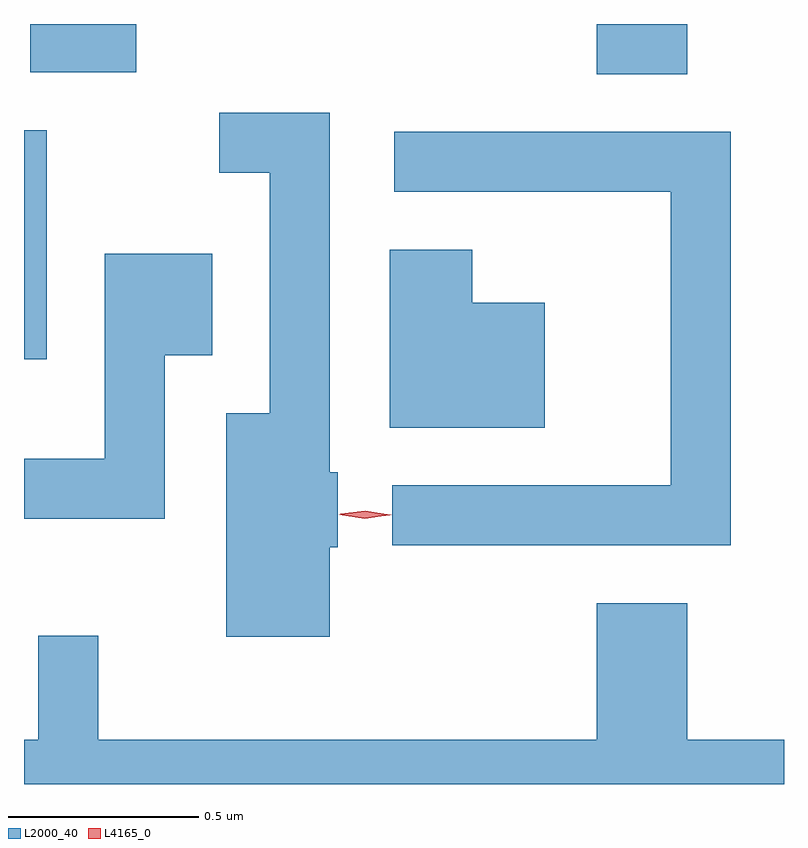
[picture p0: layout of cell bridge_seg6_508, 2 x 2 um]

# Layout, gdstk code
import gdstk
lib = gdstk.Library(unit=1e-6, precision=1e-09)
def R(c, l, rs):  # rectangles x0, y0, x1, y1
    for r in rs: c.add(gdstk.rectangle(r[:2], r[2:], *l))
def P(c, l, *ps):  # polygons
    for p in ps: c.add(gdstk.Polygon(p, *l))
L2000_40 = (2000, 40)
L4165_0 = (4165, 0)

bridge_seg6_508 = lib.new_cell('bridge_seg6_508')
R(bridge_seg6_508, L2000_40, [(783.389,1595.706,783.449,1596.309), (784.896,1596.456,785.134,1596.588), (783.406,1596.461,783.684,1596.588)])
P(bridge_seg6_508, L2000_40, [(784.194,1595.211),(784.214,1595.211),(784.214,1595.409),(784.194,1595.409),(784.194,1596.354),(783.903,1596.354),(783.903,1596.196),(784.036,1596.196),(784.036,1595.564),(783.921,1595.564),(783.921,1594.976),(784.194,1594.976)],
  [(785.249,1596.304),(784.363,1596.304),(784.363,1596.146),(785.091,1596.146),(785.091,1595.374),(784.358,1595.374),(784.358,1595.216),(785.249,1595.216)],
  [(784.759,1595.854),(784.569,1595.854),(784.569,1595.994),(784.351,1595.994),(784.351,1595.526),(784.759,1595.526)],
  [(783.759,1595.716),(783.884,1595.716),(783.884,1595.984),(783.601,1595.984),(783.601,1595.444),(783.389,1595.444),(783.389,1595.286),(783.759,1595.286)],
  [(785.389,1594.704),(785.134,1594.704),(785.134,1595.064),(784.896,1595.064),(784.896,1594.704),(783.584,1594.704),(783.584,1594.978),(783.426,1594.978),(783.426,1594.704),(783.389,1594.704),(783.389,1594.588),(785.389,1594.588)])
P(bridge_seg6_508, L4165_0, [(784.286,1595.287),(784.222,1595.298),(784.221,1595.299),(784.222,1595.299),(784.287,1595.307),(784.352,1595.296),(784.352,1595.295),(784.352,1595.295)],
  [(784.286,1595.286),(784.218,1595.296),(784.217,1595.296),(784.218,1595.297),(784.286,1595.306),(784.355,1595.297),(784.356,1595.296),(784.355,1595.296)])

lib.write_gds('bridge_seg6_508.gds')
